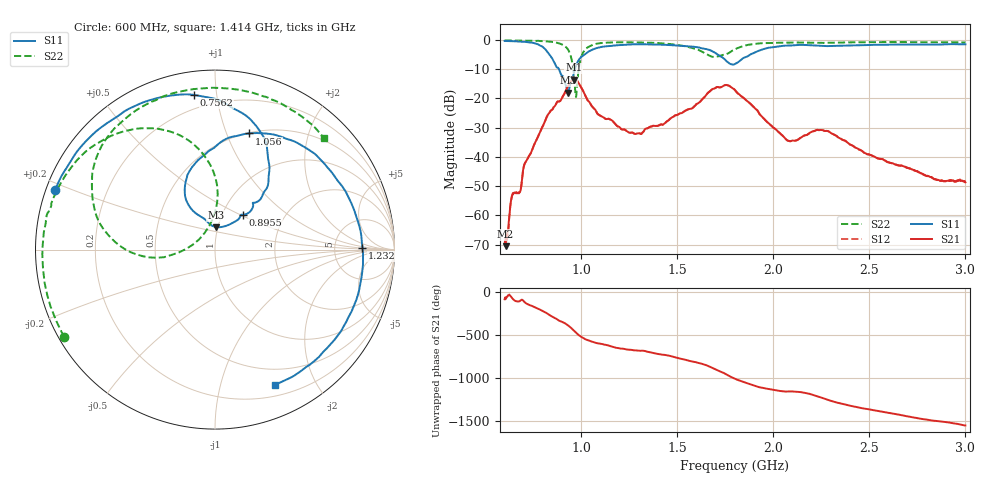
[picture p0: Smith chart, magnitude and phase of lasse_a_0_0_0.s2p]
#  HZ  S  RI  R  50.00
! Rohde & Schwarz ZVB8 2Ports - Version 2.81 - 1145.1010k08 SN: 100113
! Date: 2016-05-04 02:48:53
! Measurements: S11 S21 S12 S22
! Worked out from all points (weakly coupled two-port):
!   1000 points, 600 MHz to 3 GHz, reference 50 ohm
!   highest |S21| = -13.67 dB at 960.4 MHz (marker M1); lowest = -70.5 dB at 604.8 MHz (marker M2)
!   lowest |S11| = -18.0 dB at 931.5 MHz (marker M3), VSWR 1.29, Z = 48.8 + j12.4 ohm
!   |S11| at or under -10 dB: 882.5 MHz to 966.7 MHz (84.2 MHz wide, 9.11 % of centre)
!   |S22| runs from -19.6 to -0.3 dB; largest |S21 - S12| = 0.0017
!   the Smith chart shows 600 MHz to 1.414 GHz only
!   S11 on the Smith chart (normalised r, x): 600 MHz: 0.03, +0.18; 756.2 MHz: 0.12, +0.87; 895.5 MHz: 1.25, +0.52; 1.056 GHz: 0.51, +1.20; 1.232 GHz: 10, +1; 1.414 GHz: 0.32, -1.49
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6e8  -0.8909 0.3343  5.83e-05 -0.000327  0.000141 -0.000346  -0.8408 -0.4852
6.048048e8  -0.8799 0.359  0.000165 -0.00025  0.000154 -0.000371  -0.8498 -0.4682
6.408408e8  -0.7785 0.5329  0.000838 -0.00214  0.00076 -0.0021  -0.9072 -0.3391
7.561562e8  -0.1175 0.8618  -0.0166 -0.00245  -0.0165 -0.00259  -0.951 0.1113
8.21021e8  0.291 0.5564  -0.0213 0.0445  -0.0216 0.0444  -0.8539 0.3794
8.954955e8  0.1577 0.1944  0.0896 0.0355  0.0895 0.0361  -0.5271 0.6527
9.315315e8  0.004 0.1251  0.1444 -0.0716  0.1447 -0.0707  -0.1997 0.6389
9.603604e8  -0.1346 0.2295  0.0204 -0.2063  0.0211 -0.2059  0.0118 0.2624
9.747748e8  -0.1687 0.3373  -0.0837 -0.1838  -0.0822 -0.1842  -0.1234 0.0275
1.001201e9  -0.0856 0.5063  -0.1397 -0.0491  -0.1391 -0.0497  -0.5303 0.0213
1.056456e9  0.1902 0.6472  -0.0599 0.0404  -0.0601 0.04  -0.6807 0.4419
1.231832e9  0.8217 0.0104  0.0156 0.0234  0.0155 0.0235  -0.0627 0.8984
1.4e9  0.3959 -0.7251  0.0341 0.00178  0.034 0.0019  0.5679 0.6676
1.414414e9  0.332 -0.7546  0.0359 -0.00195  0.0359 -0.00184  0.6071 0.6207
1.637838e9  -0.543 -0.4441  -0.0504 -0.089  -0.0498 -0.0892  0.5831 -0.1342
1.801201e9  -0.3564 -0.1552  0.0446 0.1292  0.0435 0.1294  0.658 -0.2068
1.995796e9  -0.7147 0.2017  0.0186 -0.0265  0.0188 -0.0263  0.2969 -0.8317
2.2e9  -0.1632 0.7823  -0.00913 -0.0252  -0.00901 -0.0252  -0.3498 -0.8173
2.382583e9  0.4933 0.6204  -0.0107 0.0144  -0.011 0.0142  -0.725 -0.5316
2.601201e9  0.7924 -0.2206  0.00657 0.00464  0.00654 0.00467  -0.9087 -0.0448
2.800601e9  0.2317 -0.7913  0.00345 -0.00326  0.00345 -0.00319  -0.8141 0.4008
3e9  -0.4819 -0.6806  -0.00133 -0.00343  -0.00148 -0.00352  -0.5157 0.735
